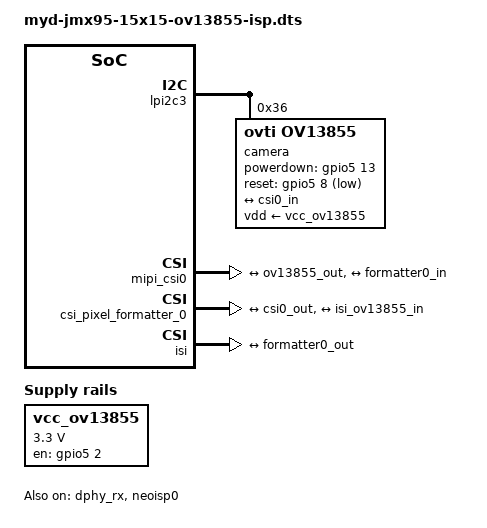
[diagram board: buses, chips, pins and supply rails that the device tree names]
// SPDX-License-Identifier: (GPL-2.0+ OR MIT)

#include "myd-jmx95-15x15.dts"
#include "myd-jmx95-15x15-dsi-lt9611.dtsi"
#include "myd-jmx95-15x15-lvds070c-lvds1-panel.dtsi"
#include <dt-bindings/gpio/gpio.h>

/ {
	vcc_ov13855: regulator-csi {
		compatible = "regulator-fixed";
		pinctrl-names = "default";
		pinctrl-0 = <&pinctrl_ov13855_power>;
		regulator-name = "VDD_CSI";
		regulator-min-microvolt = <3300000>;
		regulator-max-microvolt = <3300000>;
		gpio = <&gpio5 2 GPIO_ACTIVE_HIGH>;
		enable-active-high;
		regulator-always-on;
	};

	ov13855_xclk: clock-ov13855 {
		compatible = "fixed-clock";
		#clock-cells = <0>;
		clock-frequency = <24000000>;
	};
};

&lpi2c3 {
	#address-cells = <1>;
	#size-cells = <0>;

	camera@36 {
		compatible = "ovti,ov13855";
		reg = <0x36>;
		pinctrl-names = "default";
		pinctrl-0 = <&pinctrl_ov13855_gpio>;
		clocks = <&ov13855_xclk>;
		vdd-supply = <&vcc_ov13855>;
		powerdown-gpios = <&gpio5 13 GPIO_ACTIVE_HIGH>;
		reset-gpios = <&gpio5 8 GPIO_ACTIVE_LOW>;
		orientation = <2>;
		rotation = <0>;
		status = "okay";

		port {
			ov13855_out: endpoint {
				remote-endpoint = <&csi0_in>;
				clock-lanes = <0>;
				data-lanes = <1 2 3 4>;
				link-frequencies = /bits/ 64 <270000000>;
			};
		};
	};
};

&dphy_rx {
	status = "okay";
};

&mipi_csi0 {
	status = "okay";

	ports {
		#address-cells = <1>;
		#size-cells = <0>;

		port@0 {
			reg = <0>;

			csi0_in: endpoint {
				remote-endpoint = <&ov13855_out>;
				clock-lanes = <0>;
				data-lanes = <1 2 3 4>;
			};
		};

		port@1 {
			reg = <1>;

			csi0_out: endpoint {
				remote-endpoint = <&formatter0_in>;
			};
		};
	};
};

&csi_pixel_formatter_0 {
	status = "okay";

	ports {
		port@0 {
			formatter0_in: endpoint {
				remote-endpoint = <&csi0_out>;
			};
		};

		port@1 {
			formatter0_out: endpoint {
				remote-endpoint = <&isi_ov13855_in>;
			};
		};
	};
};

&isi {
	status = "okay";

	ports {
		port@2 {
			isi_ov13855_in: endpoint {
				remote-endpoint = <&formatter0_out>;
			};
		};
	};
};

&neoisp0 {
	status = "okay";
};

&scmi_iomuxc {
	pinctrl_ov13855_power: ov13855powergrp {
		fsl,pins = <
			IMX95_PAD_XSPI1_DATA2__GPIO5_IO_BIT2	0x31e
		>;
	};

	pinctrl_ov13855_gpio: ov13855gpiogrp {
		fsl,pins = <
			IMX95_PAD_GPIO_IO33__GPIO5_IO_BIT13	0x31e
			IMX95_PAD_XSPI1_DQS__GPIO5_IO_BIT8	0x31e
		>;
	};
};
